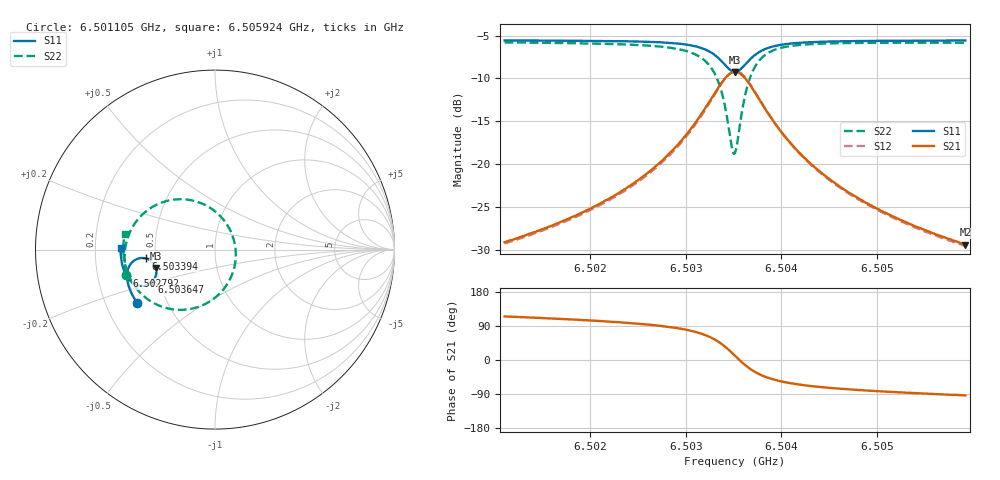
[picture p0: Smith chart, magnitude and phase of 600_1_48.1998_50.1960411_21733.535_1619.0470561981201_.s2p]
#  HZ  S  RI  R  50.00
! Rohde & Schwarz Vector Network Analyzer
! Rohde-Schwarz,ZNB20-2Port,1311601062101988,3.16
! Created: UTC 3/20/2024, 12:02:57 PM
! freq[Hz]  re:S11  im:S11  re:S21  im:S21  re:S12  im:S12  re:S22  im:S22
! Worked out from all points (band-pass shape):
!   401 points, 6.501105 GHz to 6.505924 GHz, reference 50 ohm
!   highest |S21| = -9.23 dB at 6.503515 GHz (marker M1); lowest = -29.4 dB at 6.505924 GHz (marker M2)
!   |S21| within 3 dB of the highest: 6.503274 GHz to 6.503756 GHz (482.1 kHz wide, 0.00741 % of centre)
!   lowest |S11| = -9.2 dB at 6.503515 GHz (marker M3), VSWR 2.06, Z = 24.7 - j5.71 ohm
!   |S11| at or under -10 dB: nowhere
!   |S22| runs from -18.8 to -5.8 dB; largest |S21 - S12| = 0.012
!   S11 on the Smith chart (normalised r, x): 6.501105 GHz: 0.34, -0.28; 6.502792 GHz: 0.33, -0.13; 6.503394 GHz: 0.44, -0.05; 6.503647 GHz: 0.45, -0.19; 6.505924 GHz: 0.31, +0.01
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6.5011052e9  -0.4331 -0.3001  -0.0147 0.0317  -0.0131 0.0317  -0.4933 -0.142
6.5019124e9  -0.4669 -0.2392  -0.0138 0.05  -0.0115 0.0496  -0.5043 -0.0537
6.5023702e9  -0.4824 -0.1973  -0.0106 0.0709  -0.00747 0.0699  -0.4992 0.0143
6.5027195e9  -0.4899 -0.1572  -0.000909 0.1008  0.0026 0.0984  -0.4781 0.088
6.5027918e9  -0.4903 -0.1473  0.00313 0.1099  0.00683 0.1071  -0.4692 0.1076
6.5029966e9  -0.4863 -0.1137  0.0249 0.1442  0.0285 0.1398  -0.4237 0.1755
6.5031533e9  -0.4712 -0.0814  0.0651 0.1807  0.0677 0.175  -0.3456 0.2397
6.5032978e9  -0.4324 -0.0516  0.1483 0.2098  0.1489 0.2037  -0.1941 0.2806
6.503346e9  -0.4107 -0.0468  0.1917 0.2082  0.1917 0.2028  -0.1182 0.2716
6.5033942e9  -0.3849 -0.049  0.2413 0.1926  0.2415 0.1884  -0.0331 0.2366
6.5034785e9  -0.3412 -0.079  0.3211 0.1165  0.3237 0.1129  0.0942 0.0868
6.5035147e9  -0.3301 -0.1016  0.339 0.0669  0.343 0.0618  0.1154 -0.00649
6.5035388e9  -0.327 -0.1183  0.3425 0.0316  0.3469 0.0251  0.113 -0.0712
6.5035749e9  -0.329 -0.1429  0.3349 -0.0196  0.339 -0.0283  0.0851 -0.1621
6.5036472e9  -0.3518 -0.181  0.2872 -0.0975  0.2877 -0.109  -0.0272 -0.2878
6.5037436e9  -0.3936 -0.2011  0.2072 -0.1417  0.2028 -0.1518  -0.19 -0.3357
6.5039002e9  -0.4437 -0.1936  0.1175 -0.1407  0.1106 -0.1465  -0.3534 -0.2909
6.5040809e9  -0.4747 -0.171  0.0663 -0.118  0.06 -0.1204  -0.4363 -0.2184
6.5043219e9  -0.4959 -0.1411  0.0351 -0.0921  0.0303 -0.0927  -0.481 -0.144
6.5046954e9  -0.5121 -0.1012  0.0152 -0.067  0.0117 -0.0667  -0.5046 -0.0658
6.5051291e9  -0.5212 -0.0603  0.00525 -0.0503  0.00296 -0.0497  -0.5107 -0.00205
6.5059242e9  -0.5264 0.00765  -0.00198 -0.0338  -0.00329 -0.033  -0.5038 0.0846
